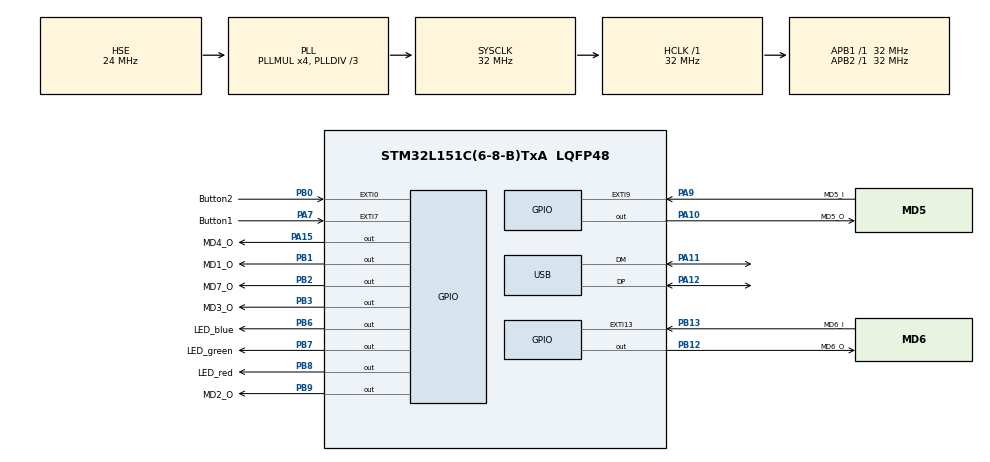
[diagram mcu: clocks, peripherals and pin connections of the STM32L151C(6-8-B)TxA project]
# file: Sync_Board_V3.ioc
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Mcu.Family=STM32L1
Mcu.Name=STM32L151C(6-8-B)TxA
Mcu.Package=LQFP48
NVIC.EXTI0_IRQn=true\:0\:0\:true\:false\:true\:true\:true\:true
NVIC.EXTI15_10_IRQn=true\:0\:0\:false\:false\:true\:true\:true\:true
NVIC.EXTI9_5_IRQn=true\:0\:0\:true\:false\:true\:true\:true\:true
NVIC.PriorityGroup=NVIC_PRIORITYGROUP_4
NVIC.TIM10_IRQn=true\:0\:0\:false\:false\:true\:true\:true\:true
NVIC.TIM11_IRQn=true\:0\:0\:false\:false\:true\:true\:true\:true
NVIC.TIM2_IRQn=true\:0\:0\:false\:false\:true\:true\:true\:true
NVIC.TIM3_IRQn=true\:0\:0\:false\:false\:true\:true\:true\:true
NVIC.TIM4_IRQn=true\:0\:0\:false\:false\:true\:true\:true\:true
NVIC.TIM6_IRQn=true\:0\:0\:false\:false\:true\:true\:true\:true
NVIC.TIM7_IRQn=true\:0\:0\:false\:false\:true\:true\:true\:true
NVIC.TIM9_IRQn=true\:0\:0\:false\:false\:true\:true\:true\:true
NVIC.USB_LP_IRQn=true\:0\:0\:false\:false\:true\:false\:true\:true
PA10.GPIO_Label=MD5_O
PA10.PinState=GPIO_PIN_SET
PA10.Signal=GPIO_Output
PA11.Mode=Device
PA11.Signal=USB_DM
PA12.Mode=Device
PA12.Signal=USB_DP
PA13.Mode=Serial_Wire
PA13.Signal=SYS_JTMS-SWDIO
PA14.Mode=Serial_Wire
PA14.Signal=SYS_JTCK-SWCLK
PA15.GPIO_Label=MD4_O
PA15.PinState=GPIO_PIN_SET
PA15.Signal=GPIO_Output
PA7.GPIO_Label=Button1
PA7.GPIO_ModeDefaultEXTI=GPIO_MODE_IT_FALLING
PA7.GPIO_PuPd=GPIO_PULLUP
PA7.Signal=GPXTI7
PA9.GPIO_Label=MD5_I
PA9.GPIO_ModeDefaultEXTI=GPIO_MODE_IT_RISING_FALLING
PA9.GPIO_PuPd=GPIO_NOPULL
PA9.Signal=GPXTI9
PB0.GPIO_Label=Button2
PB0.GPIO_ModeDefaultEXTI=GPIO_MODE_IT_FALLING
PB0.GPIO_PuPd=GPIO_PULLUP
PB0.Signal=GPXTI0
PB1.GPIO_Label=MD1_O
PB1.PinState=GPIO_PIN_SET
PB1.Signal=GPIO_Output
PB12.GPIO_Label=MD6_O
PB12.PinState=GPIO_PIN_SET
PB12.Signal=GPIO_Output
PB13.GPIO_Label=MD6_I
PB13.GPIO_ModeDefaultEXTI=GPIO_MODE_IT_RISING_FALLING
PB13.Signal=GPXTI13
PB2.GPIO_Label=MD7_O
PB2.PinState=GPIO_PIN_SET
PB2.Signal=GPIO_Output
PB3.GPIO_Label=MD3_O
PB3.PinState=GPIO_PIN_SET
PB3.Signal=GPIO_Output
PB6.GPIO_Label=LED_blue 
PB6.PinState=GPIO_PIN_SET
PB6.Signal=GPIO_Output
PB7.GPIO_Label=LED_green
PB7.PinState=GPIO_PIN_SET
PB7.Signal=GPIO_Output
PB8.GPIO_Label=LED_red
PB8.PinState=GPIO_PIN_SET
PB8.Signal=GPIO_Output
PB9.GPIO_Label=MD2_O
PB9.PinState=GPIO_PIN_SET
PB9.Signal=GPIO_Output
PH0-OSC_IN.Mode=HSE-External-Oscillator
PH0-OSC_IN.Signal=RCC_OSC_IN
PH1-OSC_OUT.Mode=HSE-External-Oscillator
PH1-OSC_OUT.Signal=RCC_OSC_OUT
ProjectManager.HeapSize=0x200
ProjectManager.StackSize=0x400
ProjectManager.TargetToolchain=STM32CubeIDE
RCC.48MHZClocksFreq_Value=48000000
RCC.AHBFreq_Value=32000000
RCC.APB1Freq_Value=32000000
RCC.APB1TimFreq_Value=32000000
RCC.APB2Freq_Value=32000000
RCC.APB2TimFreq_Value=32000000
RCC.HCLKFreq_Value=32000000
RCC.HSE_VALUE=24000000
RCC.HSI_VALUE=16000000
RCC.LSE_VALUE=32768
RCC.MSI_VALUE=2097000
RCC.PLLDIV=RCC_PLL_DIV3
RCC.PLLMUL=RCC_PLL_MUL4
RCC.SYSCLKFreq_VALUE=32000000
RCC.SYSCLKSource=RCC_SYSCLKSOURCE_PLLCLK
RCC.VCOOutputFreq_Value=96000000
TIM10.Prescaler=32-1
TIM11.Prescaler=32-1
TIM2.Prescaler=32-1
TIM3.Prescaler=32-1
TIM4.Prescaler=32-1
TIM6.Period=1000-1
TIM6.Prescaler=32-1
TIM7.Prescaler=32-1
TIM9.Prescaler=32-1
USB_DEVICE.CLASS_NAME_FS=CDC
USB_DEVICE.VirtualMode=Cdc
USB_DEVICE.VirtualModeFS=Cdc_FS
VP_TIM10_VS_ClockSourceINT.Mode=Internal
VP_TIM11_VS_ClockSourceINT.Mode=Internal
VP_TIM2_VS_ClockSourceINT.Mode=Internal
VP_TIM3_VS_ClockSourceINT.Mode=Internal
VP_TIM4_VS_ClockSourceINT.Mode=Internal
VP_TIM6_VS_ClockSourceINT.Mode=Enable_Timer
VP_TIM7_VS_ClockSourceINT.Mode=Enable_Timer
VP_TIM9_VS_ClockSourceINT.Mode=Internal
VP_USB_DEVICE_VS_USB_DEVICE_CDC_FS.Mode=CDC_FS
board=custom

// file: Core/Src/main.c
/* USER CODE BEGIN Header */
/**
  ******************************************************************************
  * @file           : main.c
  * @brief          : Main program body
  ******************************************************************************
  * @attention
  *
  * <h2><center>&copy; Copyright (c) 2022 STMicroelectronics.
  * All rights reserved.</center></h2>
  *
  * This software component is licensed by ST under BSD 3-Clause license,
  * the "License"; You may not use this file except in compliance with the
  * License. You may obtain a copy of the License at:
  *                        opensource.org/licenses/BSD-3-Clause
  *
  ******************************************************************************
  */
/* USER CODE END Header */
#include "main.h"
#include "tim.h"
#include "usb_device.h"
#include "gpio.h"

/* USER CODE BEGIN Includes */
#include "usbd_cdc_if.h"
#include <string.h>
#include "m-sequence.h"
#include <math.h>
/* USER CODE END Includes */

/* USER CODE BEGIN PTD */
typedef struct {
	GPIO_TypeDef *port_out;
	uint16_t pin_out;
	uint8_t active;
	uint16_t delay;
	uint16_t pulsLength;
	uint8_t signalform;
	uint16_t frequency;
	uint32_t timeRef;
	uint8_t stopTrigger;
	uint8_t logicLevel;
	TIM_HandleTypeDef *clockTimer;
	TIM_TypeDef *timBase;
	uint8_t degree;
	uint16_t pnDelay;
	uint8_t *mSeq;
	uint16_t mSeqCounter;
} device;

typedef struct{
	uint8_t source;
	uint16_t delay;
	uint8_t signalform;
}startSource;

typedef struct{
	uint8_t source;
	uint16_t delay;
	uint8_t signalform;
}stopSource;

typedef struct{
	uint8_t source;
	uint8_t active;
	uint8_t signalform;
}eventSource;

/* USER CODE END PTD */

/* USER CODE BEGIN PD */
//Measuring Devices
#define MD1 0
#define MD2 1
#define MD3 2
#define MD4 3
#define MD5 4
#define MD6 5
#define MD7 6

// Start / Stop / Clock sources
#define USB 0x00
#define Button1 0x01
#define Button2 0x02

//Signals
#define FallingTrigger 0
#define RisingTrigger 1
#define FallingEdge 2
#define RisingEdge 3
#define AnyEdge 4
#define FallingClock 5
#define RisingClock 6
#define M_Sequence 7

//Errors
#define SourceNotUsed 2
#define NoSuchStopSource 3
#define NoSuchStartSource 4
#define InvalidDataReceived 5
#define NoSuchMessage 6
#define NoSuchDevice 7
#define NoSuchInput 8
#define AllocationFailed 9
#define NoSuchColor 10
#define NoSuchSignalform 11

//Message
#define ErrorByte 0x00
#define EventByte 0x01
#define RunByte 0x02
#define SendWhoAmI 0xaa
#define MeasurementRun 0xbb
#define MeasurementStop 0xcc

//colors
#define ColorOff 0
#define ColorRed 1
#define ColorGreen 2
#define ColorBlue 3

//Setting commands
#define HelloByte 0xaa
/* USER CODE END PD */

/* USER CODE BEGIN PV */
uint8_t saveReceivedData[50];
uint8_t dataReceived = 0;
device allDevices[9];
startSource start;
stopSource stop;
eventSource event;

static uint8_t measRun = 0;
uint8_t button1_event = 0;
uint32_t button1_event_time = 0;
uint8_t button2_event = 0;
uint32_t button2_event_time = 0;
uint8_t md6_event = 0;
uint32_t md6_event_time = 0;
uint8_t md5_event = 0;
uint32_t md5_event_time = 0;
uint32_t startTime = 0;
uint32_t measTime = 0;
uint32_t stopTime = 0;
uint8_t deviceCount = 0;
uint8_t maxSeqLength = 0;
/* USER CODE END PV */

void SystemClock_Config(void);

/* USER CODE BEGIN 0 */

//
void Dev_init(){
//Function sets each Measuring Device to Init

	allDevices[MD1].port_out = MD1_O_GPIO_Port;
	allDevices[MD1].pin_out = MD1_O_Pin;
	allDevices[MD1].clockTimer = &htim2;
	allDevices[MD1].timBase = TIM2;
	allDevices[MD1].stopTrigger = 0;
	allDevices[MD1].mSeq = (uint8_t *) malloc(3);

	allDevices[MD2].port_out = MD2_O_GPIO_Port;
	allDevices[MD2].pin_out = MD2_O_Pin;
	allDevices[MD2].clockTimer = &htim3;
	allDevices[MD2].timBase = TIM3;
	allDevices[MD2].stopTrigger = 0;
	allDevices[MD2].mSeq = (uint8_t *) malloc(3);

	allDevices[MD3].port_out = MD3_O_GPIO_Port;
	allDevices[MD3].pin_out = MD3_O_Pin;
	allDevices[MD3].clockTimer = &htim4;
	allDevices[MD3].timBase = TIM4;
	allDevices[MD3].stopTrigger = 0;
	allDevices[MD3].mSeq = (uint8_t *) malloc(3);

	allDevices[MD4].port_out = MD4_O_GPIO_Port;
	allDevices[MD4].pin_out = MD4_O_Pin;
	allDevices[MD4].clockTimer = &htim7;
	allDevices[MD4].timBase = TIM7;
	allDevices[MD4].stopTrigger = 0;
	allDevices[MD4].mSeq = (uint8_t *) malloc(3);

	allDevices[MD5].port_out = MD5_O_GPIO_Port;
	allDevices[MD5].pin_out = MD5_O_Pin;
	allDevices[MD5].clockTimer = &htim9;
	allDevices[MD5].timBase = TIM9;
	allDevices[MD5].stopTrigger = 0;
	allDevices[MD5].mSeq = (uint8_t *) malloc(3);

	allDevices[MD6].port_out = MD6_O_GPIO_Port;
	allDevices[MD6].pin_out = MD6_O_Pin;
	allDevices[MD6].clockTimer = &htim10;
	allDevices[MD6].timBase = TIM10;
	allDevices[MD6].stopTrigger = 0;
	allDevices[MD6].mSeq = (uint8_t *) malloc(3);

	allDevices[MD7].port_out = MD7_O_GPIO_Port;
	allDevices[MD7].pin_out = MD7_O_Pin;
	allDevices[MD7].clockTimer = &htim11;
	allDevices[MD7].timBase = TIM11;
	allDevices[MD7].stopTrigger = 0;
	allDevices[MD7].mSeq = (uint8_t *) malloc(3);

	//saves number of devices in allDevices
	deviceCount = sizeof(allDevices) / sizeof(allDevices[0]);

	for (uint8_t i = MD1; i < deviceCount; i++){
		allDevices[i].active = 0;
		allDevices[i].delay = 0;
		allDevices[i].signalform = FallingTrigger;
		allDevices[i].frequency = 0;
		allDevices[i].timeRef = 1;
		allDevices[i].mSeqCounter = 0;
		allDevices[i].pulsLength = 4;
	}
}
/* USER CODE END 0 */

int main(void)
{

  /* MCU Configuration--------------------------------------------------------*/

  /* Reset of all peripherals, Initializes the Flash interface and the Systick. */
  HAL_Init();

  /* USER CODE BEGIN Init */
  Dev_init();
  /* USER CODE END Init */

  /* Configure the system clock */
  SystemClock_Config();

  /* Initialize all configured peripherals */
  MX_GPIO_Init();
  MX_TIM2_Init();
  MX_TIM3_Init();
  MX_TIM4_Init();
  MX_TIM6_Init();
  MX_TIM7_Init();
  MX_TIM9_Init();
  MX_TIM10_Init();
  MX_TIM11_Init();
  MX_USB_DEVICE_Init();

  /* Infinite loop */
  /* USER CODE BEGIN WHILE */
  while (1)
  {

	  //Button1 pressed
	  if(button1_event){
		  button1_event = 0;
		  if(start.source == Button1 || stop.source == Button1){
			  if(measRun == 0){
				  StartMeasurement(Button1);
			  }else{
				  StopMeasurement(Button1);
			  }
		  }else if (event.active && event.source == Button1) {
			  SendMessage(EventByte, Button1, 3);
		  }else{
			  uint8_t errorMessage = SourceNotUsed;
			  PrintError(errorMessage);
		  }
	  }
	  //Button2 pressed
	  if(button2_event){
		  button2_event = 0;
		  if(start.source == Button2 || stop.source == Button2){
			  if(measRun == 0){
				  StartMeasurement(Button2);
			  }else{
				  StopMeasurement(Button2);
			  }
		  }else if (event.active && event.source == Button2) {
			  SendMessage(EventByte, Button2, 3);
		  }else{
			  uint8_t errorMessage = SourceNotUsed;
			  PrintError(errorMessage);
		  }
	  }
	  //Interrupt signal MD6
	  if(md6_event){
		  if(start.source == MD6){
			  if(measRun == 0){
				  StartMeasurement(MD6);
			  }else{
				  StopMeasurement(MD6);
			  }
		  }else if (event.active && event.source == MD6) {
			  SendMessage(EventByte, MD6, 3);
		  }else{
			  uint8_t errorMessage = SourceNotUsed;
			  PrintError(errorMessage);
		  }
		  md6_event = 0;
	  }
	  //Interrupt Signal MD5
	  if(md5_event){
		  if(start.source == MD5){
			  if(measRun == 0){
				  StartMeasurement(MD5);
			  }else{
				  StopMeasurement(MD5);
			  }
		  }else if (event.active && event.source == MD5) {
			  SendMessage(EventByte, MD5, 3);
		  }else{
			  uint8_t errorMessage = SourceNotUsed;
			  PrintError(errorMessage);
		  }
		  md5_event = 0;
	  }

	  //Data received
	  if(dataReceived == 1){
		  dataReceived = 0;
		  ReadData(saveReceivedData);
	  }
    /* USER CODE END WHILE */

    /* USER CODE BEGIN 3 */
  }
  FreeAllMalloc();
  /* USER CODE END 3 */
}

void SystemClock_Config(void)
{
  RCC_OscInitTypeDef RCC_OscInitStruct = {0};
  RCC_ClkInitTypeDef RCC_ClkInitStruct = {0};

  /** Configure the main internal regulator output voltage
  */
  __HAL_PWR_VOLTAGESCALING_CONFIG(PWR_REGULATOR_VOLTAGE_SCALE1);

  /** Initializes the RCC Oscillators according to the specified parameters
  * in the RCC_OscInitTypeDef structure.
  */
  RCC_OscInitStruct.OscillatorType = RCC_OSCILLATORTYPE_HSE;
  RCC_OscInitStruct.HSEState = RCC_HSE_ON;
  RCC_OscInitStruct.PLL.PLLState = RCC_PLL_ON;
  RCC_OscInitStruct.PLL.PLLSource = RCC_PLLSOURCE_HSE;
  RCC_OscInitStruct.PLL.PLLMUL = RCC_PLL_MUL4;
  RCC_OscInitStruct.PLL.PLLDIV = RCC_PLL_DIV3;
  if (HAL_RCC_OscConfig(&RCC_OscInitStruct) != HAL_OK)
  {
    Error_Handler();
  }

  /** Initializes the CPU, AHB and APB buses clocks
  */
  RCC_ClkInitStruct.ClockType = RCC_CLOCKTYPE_HCLK|RCC_CLOCKTYPE_SYSCLK
                              |RCC_CLOCKTYPE_PCLK1|RCC_CLOCKTYPE_PCLK2;
  RCC_ClkInitStruct.SYSCLKSource = RCC_SYSCLKSOURCE_PLLCLK;
  RCC_ClkInitStruct.AHBCLKDivider = RCC_SYSCLK_DIV1;
  RCC_ClkInitStruct.APB1CLKDivider = RCC_HCLK_DIV1;
  RCC_ClkInitStruct.APB2CLKDivider = RCC_HCLK_DIV1;

  if (HAL_RCC_ClockConfig(&RCC_ClkInitStruct, FLASH_LATENCY_1) != HAL_OK)
  {
    Error_Handler();
  }
}

/* USER CODE BEGIN 4 */
void LightLED(uint8_t color){

	HAL_GPIO_WritePin(LED_green_GPIO_Port, LED_green_Pin, GPIO_PIN_SET);
	HAL_GPIO_WritePin(LED_blue_GPIO_Port, LED_blue_Pin, GPIO_PIN_SET);
	HAL_GPIO_WritePin(LED_red_GPIO_Port, LED_red_Pin, GPIO_PIN_SET);
	uint8_t errorMessage = NoSuchColor;
	switch (color){
	case ColorRed:
		HAL_GPIO_WritePin(LED_red_GPIO_Port, LED_red_Pin, GPIO_PIN_RESET);
		break;
	case ColorGreen:
		HAL_GPIO_WritePin(LED_green_GPIO_Port, LED_green_Pin, GPIO_PIN_RESET);
		break;
	case ColorBlue:
		HAL_GPIO_WritePin(LED_blue_GPIO_Port, LED_blue_Pin, GPIO_PIN_RESET);
		break;
	case ColorOff:
		break;
	default:
		PrintError(errorMessage);
	}
}

void PrintError(uint8_t errorMessage){
	LightLED(ColorRed);
	uint8_t printError[] = {HelloByte, ErrorByte, errorMessage};
	CDC_Transmit_FS(printError, 3);
	while(!(dataReceived == 1 && saveReceivedData[0] == 0xaa && saveReceivedData[1] == 0x0a)){//Wait for user respond
	}
	LightLED(ColorOff);
	dataReceived = 0;
}

void SendMessage(uint8_t feature, uint8_t message, uint8_t length){
	uint8_t sendMessage[length];
	sendMessage[0] = HelloByte;
	if(length == 2){
		sendMessage[1] = message;
	}else if(length == 3){
		sendMessage[1] = feature;
		sendMessage[2] = message;
	}
	CDC_Transmit_FS(sendMessage, length);
}

void FreeAllMalloc(){
	for(uint8_t i = MD1; i < deviceCount; i++){
		free(allDevices[i].mSeq);
	}
}

int CheckDelay(uint32_t measTime, uint16_t msDelay){
/* function returns 1 after adjusted delay time
* measTime: time since measurement started
* msDelay: delay time in ms*/
	if(measTime < msDelay){
		return 0;
	}else{
		return 1;
	}
}

void MD_InitSignalform(uint8_t i){
/* function puts dev to init level depending on its signalform
* dev: measuring device*/

	if(allDevices[i].signalform == FallingClock || allDevices[i].signalform == FallingTrigger || allDevices[i].signalform == FallingEdge){
		HAL_GPIO_WritePin(allDevices[i].port_out, allDevices[i].pin_out, GPIO_PIN_SET);
	}else if(allDevices[i].signalform == RisingClock || allDevices[i].signalform == RisingTrigger || allDevices[i].signalform == M_Sequence || allDevices[i].signalform == RisingEdge){
		HAL_GPIO_WritePin(allDevices[i].port_out, allDevices[i].pin_out, GPIO_PIN_RESET);
	}
	allDevices[i].mSeqCounter = 0;
}

void MD_Trigger(device dev, uint32_t runningTime){
/* function toggles level for pulsLength(ms) of dev to create a Triggersignal
* dev: measuring device
* runningTime: time since measurement runs*/

	if(runningTime > 0 && runningTime <= dev.pulsLength){
		HAL_GPIO_WritePin(dev.port_out, dev.pin_out, dev.signalform);
	}else{
		HAL_GPIO_WritePin(dev.port_out, dev.pin_out, !dev.signalform);
	}
}

void InitSignalformAll(){
//function puts all measuring devices to init level depending on their signalform

	for(uint8_t i = 0; i < deviceCount; i++){
		MD_InitSignalform(i);
	}
}

//reads the received message and executes the corresponding function
int ReadData(uint8_t buf[]){
/* function reads the received message and calls the corresponding function
* buf: save received byte messages */

	if(buf[0] != HelloByte){
		uint8_t errorMessage = InvalidDataReceived;
		PrintError(errorMessage);
		return 0;
	}
	uint8_t errorMessage = NoSuchMessage;
	switch (buf[1]){
	case 0x00:
		SetStartSource(buf[2], buf[3]<<8 | buf[4], buf[5]);
		break;
	case 0x01:
		SetStopSource(buf[2], buf[3]<<8 | buf[4], buf[5]);
		break;
	case 0x02:
		SetEvent(buf[2], buf[3], buf[4]);
		break;
	case 0x03:
		SetOutput(buf[2], buf[3], buf[4]<<8 | buf[5], buf[6],  buf[7]<<8 | buf[8], buf[9]<<8 | buf[10], buf[11], buf[12]);
		break;
	case 0x04:
		StartMeasurement(USB);
		break;
	case 0x05:
		StopMeasurement(USB);
		break;
	case 0xff:
		WhoAmI();
		break;
	default:
		PrintError(errorMessage);
		return 0;
	}
	return 1;
}

//
void SetStartSource(uint8_t newStartSource, uint16_t delay, uint8_t signalform){
/* function sets the requirements how to start a measurement
* newStartSource: Source of the signal which triggers to start a measurement
* delay: delay to wait before measurement starts
* signalform: type of signal which triggers to start a measurement */
	if(newStartSource > MD6){
		uint8_t errorMessage = NoSuchStartSource;
		PrintError(errorMessage);
		return;
	}else{
		start.source = newStartSource;
		start.delay = delay;
		start.signalform = signalform;
	}
}

void SetStopSource(uint8_t newStopSource, uint16_t delay, uint8_t signalform){
/* function sets the requirements how to stop a measurement
* newStartSource: Source of the signal which triggers to stop a measurement
* delay: delay to wait before measurement stops
* signalform: type of signal which triggers to stop a measurement */
	if(newStopSource > MD6){
		uint8_t errorMessage = NoSuchStopSource;
		PrintError(errorMessage);
		return;
	}else{
		stop.source = newStopSource;
		stop.delay = delay;
		stop.signalform = signalform;
	}
}

void SetEvent(uint8_t eventSource, uint8_t active, uint8_t signalform){
/* function sets the requirements how an event is triggered
* eventSource: Source of the signal which triggers an event
* active: turns the ability to trigger an event with this eventSource on (1) or off (0)
* signalform: type of signal which triggers an event*/
	event.source = eventSource;
	event.active = active;
	event.signalform = signalform;
}

void SetOutput(uint8_t device, uint8_t active, uint16_t delay, uint8_t signalform, uint16_t pulsLength, uint16_t frequency, uint8_t stopTrigger, uint8_t degree /*uint16_t pnDelay*/){
/* function sets the chosen measuring device with the required features for an output sync signal
* device: measuring device
* active: device is active (1), is not active (0)
* delay: delay to wait after measurement started
* signalform: type of output sync signal
* stopTrigger == 1: generates a trigger signal when measurement stops
* degree: degree to generate an M-Sequence */

	if(device >= deviceCount){
		uint8_t errorMessage = NoSuchDevice;
		PrintError(errorMessage);
		return;
	}
	allDevices[device].active = active;
	allDevices[device].delay = delay;
	allDevices[device].signalform = signalform;
	allDevices[device].pulsLength = pulsLength;
	allDevices[device].frequency = frequency;
	allDevices[device].stopTrigger = stopTrigger;
	allDevices[device].degree = degree;

	if(active && allDevices[device].degree != 0){
		maxSeqLength = pow(2, allDevices[device].degree)-1;
		allDevices[device].mSeq = (uint8_t *)realloc(allDevices[device].mSeq, maxSeqLength);
	}

	if(active && frequency != 0){
		if(allDevices[device].signalform == M_Sequence){
			mls(allDevices[device].degree, allDevices[device].mSeq);
			allDevices[device].timeRef = 1e6 / frequency;//timeRef in µs
		}else{
			if(frequency >= 8){
				allDevices[device].timBase -> PSC = 32-1;
				allDevices[device].timeRef = 1e6 / (frequency * 2);//toggle every half period
			}else{
				allDevices[device].timBase -> PSC = 265-1;
				allDevices[device].timeRef = (1e6 / (frequency * 2 * 8)) - 300;
			}

		}
		allDevices[device].timBase -> ARR = allDevices[device].timeRef;
	}
	MD_InitSignalform(device);
}

void StartMeasurement(uint8_t usedSource){
/* function starts a measurement
* usedSource: signal which triggered the start of the measurement*/
	if(start.source == usedSource && measRun == 0){
		HAL_Delay(start.delay);
		LightLED(ColorGreen);
		measRun = 1;
		SendMessage(RunByte, MeasurementRun, 3);
		stopTime = 0;
		startTime = HAL_GetTick();
		HAL_TIM_Base_Start_IT(&htim6);
		for(uint8_t i = MD1; i < deviceCount; i++){
			if(allDevices[i].active){
				if(allDevices[i].signalform == RisingEdge || allDevices[i].signalform == FallingEdge){
					HAL_GPIO_WritePin(allDevices[i].port_out, allDevices[i].pin_out, !HAL_GPIO_ReadPin(allDevices[i].port_out, allDevices[i].pin_out));
				}else if(allDevices[i].frequency != 0){
					HAL_TIM_Base_Start_IT(allDevices[i].clockTimer);
				}
			}
		}
	}
}

void StopMeasurement(uint8_t usedSource){
/* function stops a measurement
* usedSource: signal which triggered the stop of the measurement*/
	if(stop.source == usedSource && measRun == 1){
		HAL_Delay(stop.delay);
		LightLED(ColorOff);
		measRun = 0;
		SendMessage(RunByte, MeasurementStop, 3);
		stopTime = HAL_GetTick();
		startTime = 0;
		for(uint8_t i = MD1; i < deviceCount; i++){
			if(allDevices[i].signalform == RisingEdge || allDevices[i].signalform == FallingEdge){
				HAL_GPIO_WritePin(allDevices[i].port_out, allDevices[i].pin_out, !HAL_GPIO_ReadPin(allDevices[i].port_out, allDevices[i].pin_out));
			}else if(allDevices[i].frequency != 0){
				HAL_TIM_Base_Stop_IT(allDevices[i].clockTimer);
			}
		}
		InitSignalformAll();
	}
}

void WhoAmI(){
	SendMessage(0, SendWhoAmI, 2);
}

void UpdateStartTrigger(){
/* function toggles level of all active devices for 4ms when measurement starts*/
	measTime = HAL_GetTick() - startTime;

	for(uint8_t i = MD1; i < deviceCount; i++){
		if(allDevices[i].active && CheckDelay(measTime, allDevices[i].delay)){
			uint32_t runningTime = measTime - allDevices[i].delay;
			switch (allDevices[i].signalform){
			case FallingTrigger:
			case RisingTrigger:
				MD_Trigger(allDevices[i], runningTime);
				break;
			}
		}
	}
}

void UpdateStopTrigger(){
/* function toggles level of all active devices for 4ms when measurement stops*/
	measTime = HAL_GetTick() - stopTime;
	for(uint8_t i = MD1; i < deviceCount; i++){
		if(allDevices[i].active && allDevices[i].stopTrigger == 1){
			MD_Trigger(allDevices[i], measTime);
		}
	}
}

void HAL_GPIO_EXTI_Callback(uint16_t GPIO_Pin){
	//Interrupt Button 1
	if(GPIO_Pin == Button1_Pin){
		button1_event = 1;
	}
	//Interrupt Button 2
	if(GPIO_Pin == Button2_Pin){
		button2_event = 1;
	}
	//Interrupt MD5
	if(GPIO_Pin == MD5_I_Pin){
		if(HAL_GetTick() > (md5_event_time + 10)){
			md5_event_time = HAL_GetTick();
			if (HAL_GPIO_ReadPin(MD5_I_GPIO_Port, MD5_I_Pin) == GPIO_PIN_RESET && start.signalform == FallingEdge && measRun == 0){
				md5_event = 1;
			} else if (HAL_GPIO_ReadPin(MD5_I_GPIO_Port, MD5_I_Pin) == GPIO_PIN_SET && start.signalform == RisingEdge  && measRun == 0) {
				md5_event = 1;
			} else if (start.signalform == AnyEdge && measRun == 1) {
				md5_event = 1;
			} else if (HAL_GPIO_ReadPin(MD5_I_GPIO_Port, MD5_I_Pin) == GPIO_PIN_RESET && stop.signalform == FallingEdge  && measRun == 1){
				md5_event = 1;
			} else if (HAL_GPIO_ReadPin(MD5_I_GPIO_Port, MD5_I_Pin) == GPIO_PIN_SET && stop.signalform == RisingEdge  && measRun == 1) {
				md5_event = 1;
			} else if (stop.signalform == AnyEdge && measRun == 1) {
				md5_event = 1;
			} else if (HAL_GPIO_ReadPin(MD5_I_GPIO_Port, MD5_I_Pin) == GPIO_PIN_SET && event.signalform == RisingEdge && event.source == MD5) {
				md5_event = 1;
			} else if (HAL_GPIO_ReadPin(MD5_I_GPIO_Port, MD5_I_Pin) == GPIO_PIN_RESET && event.signalform == FallingEdge && event.source == MD5) {
				md5_event = 1;
			} else if (event.signalform == AnyEdge && event.source == MD5) {
				md5_event = 1;
			}
		}
	}
	//Interrupt MD6
	if(GPIO_Pin == MD6_I_Pin){
		if(HAL_GetTick() > (md6_event_time + 10)){
			md6_event_time = HAL_GetTick();
			if (HAL_GPIO_ReadPin(MD6_I_GPIO_Port, MD6_I_Pin) == GPIO_PIN_RESET && start.signalform == FallingEdge && measRun == 0){
				md6_event = 1;
			} else if (HAL_GPIO_ReadPin(MD6_I_GPIO_Port, MD6_I_Pin) == GPIO_PIN_SET && start.signalform == RisingEdge && measRun == 0) {
				md6_event = 1;
			} else if (start.signalform == AnyEdge && measRun == 0) {
				md6_event = 1;
			} else if (HAL_GPIO_ReadPin(MD6_I_GPIO_Port, MD6_I_Pin) == GPIO_PIN_RESET && stop.signalform == FallingEdge && measRun == 1){
				md6_event = 1;
			} else if (HAL_GPIO_ReadPin(MD6_I_GPIO_Port, MD6_I_Pin) == GPIO_PIN_SET && stop.signalform == RisingEdge && measRun == 1) {
				md6_event = 1;
			} else if (stop.signalform == AnyEdge && measRun == 1) {
				md6_event = 1;
			} else if (HAL_GPIO_ReadPin(MD6_I_GPIO_Port, MD6_I_Pin) == GPIO_PIN_SET && event.signalform == RisingEdge && event.source == MD6) {
				md6_event = 1;
			} else if (HAL_GPIO_ReadPin(MD6_I_GPIO_Port, MD6_I_Pin) == GPIO_PIN_RESET && event.signalform == FallingEdge && event.source == MD6) {
				md6_event = 1;
			} else if (event.signalform == AnyEdge && event.source == MD6) {
				md6_event = 1;
			}
		}
	}
}

void HAL_TIM_PeriodElapsedCallback(TIM_HandleTypeDef *htim){
/* function uses timer events as a reference to generate the output-sync-signals during the measurement
* *htim: timer that triggered an interrupt */
	if(htim == &htim6){
		if(measRun){
			UpdateStartTrigger();
		}else{
			UpdateStopTrigger();
		}
	}

	if(htim == &htim2 && CheckDelay(measTime, allDevices[MD1].delay)){
		if(allDevices[MD1].signalform != M_Sequence){
			HAL_GPIO_TogglePin(allDevices[MD1].port_out, allDevices[MD1].pin_out);
		}else{
			HAL_GPIO_WritePin(allDevices[MD1].port_out, allDevices[MD1].pin_out, allDevices[MD1].mSeq[allDevices[MD1].mSeqCounter]);
			allDevices[MD1].mSeqCounter++;
			if(allDevices[MD1].mSeqCounter > maxSeqLength-1){
				HAL_GPIO_WritePin(allDevices[MD1].port_out, allDevices[MD1].pin_out, GPIO_PIN_SET);
				allDevices[MD1].mSeqCounter = 0;
			}
		}
	}
	if(htim == &htim3 && CheckDelay(measTime, allDevices[MD2].delay)){
		if(allDevices[MD2].signalform != M_Sequence){
			HAL_GPIO_TogglePin(allDevices[MD2].port_out, allDevices[MD2].pin_out);
		}else{
			HAL_GPIO_WritePin(allDevices[MD2].port_out, allDevices[MD2].pin_out, allDevices[MD2].mSeq[allDevices[MD2].mSeqCounter]);
			allDevices[MD2].mSeqCounter++;
			if(allDevices[MD2].mSeqCounter > maxSeqLength-1){
				HAL_GPIO_WritePin(allDevices[MD2].port_out, allDevices[MD2].pin_out, GPIO_PIN_SET);
				allDevices[MD2].mSeqCounter = 0;
			}
		}
	}
	if(htim == &htim4 && CheckDelay(measTime, allDevices[MD3].delay)){
		if(allDevices[MD3].signalform != M_Sequence){
			HAL_GPIO_TogglePin(allDevices[MD3].port_out, allDevices[MD3].pin_out);
		}else{
			HAL_GPIO_WritePin(allDevices[MD3].port_out, allDevices[MD3].pin_out, allDevices[MD3].mSeq[allDevices[MD3].mSeqCounter]);
			allDevices[MD3].mSeqCounter++;
			if(allDevices[MD3].mSeqCounter > maxSeqLength-1){
				HAL_GPIO_WritePin(allDevices[MD3].port_out, allDevices[MD3].pin_out, GPIO_PIN_SET);
				allDevices[MD3].mSeqCounter = 0;
			}
		}
	}
	if(htim == &htim7 && CheckDelay(measTime, allDevices[MD4].delay)){
		if(allDevices[MD4].signalform != M_Sequence){
			HAL_GPIO_TogglePin(allDevices[MD4].port_out, allDevices[MD4].pin_out);
		}else{
			HAL_GPIO_WritePin(allDevices[MD4].port_out, allDevices[MD4].pin_out, allDevices[MD4].mSeq[allDevices[MD4].mSeqCounter]);
			allDevices[MD4].mSeqCounter++;
			if(allDevices[MD4].mSeqCounter > maxSeqLength-1){
				HAL_GPIO_WritePin(allDevices[MD4].port_out, allDevices[MD4].pin_out, GPIO_PIN_SET);
				allDevices[MD4].mSeqCounter = 0;
			}
		}
	}
	if(htim == &htim9 && CheckDelay(measTime, allDevices[MD5].delay)){
		if(allDevices[MD5].signalform != M_Sequence){
			HAL_GPIO_TogglePin(allDevices[MD5].port_out, allDevices[MD5].pin_out);
		}else{
			HAL_GPIO_WritePin(allDevices[MD5].port_out, allDevices[MD5].pin_out, allDevices[MD5].mSeq[allDevices[MD5].mSeqCounter]);
			allDevices[MD5].mSeqCounter++;
			if(allDevices[MD5].mSeqCounter > maxSeqLength-1){
				HAL_GPIO_WritePin(allDevices[MD5].port_out, allDevices[MD5].pin_out, GPIO_PIN_SET);
				allDevices[MD5].mSeqCounter = 0;
			}
		}
	}
	if(htim == &htim10 && CheckDelay(measTime, allDevices[MD6].delay)){
		if(allDevices[MD6].signalform != M_Sequence){
			HAL_GPIO_TogglePin(allDevices[MD6].port_out, allDevices[MD6].pin_out);
		}else{
			HAL_GPIO_WritePin(allDevices[MD6].port_out, allDevices[MD6].pin_out, allDevices[MD6].mSeq[allDevices[MD6].mSeqCounter]);
			allDevices[MD6].mSeqCounter++;
			if(allDevices[MD6].mSeqCounter > maxSeqLength-1){
				HAL_GPIO_WritePin(allDevices[MD6].port_out, allDevices[MD6].pin_out, GPIO_PIN_SET);
				allDevices[MD6].mSeqCounter = 0;
			}
		}
	}
	if(htim == &htim11 && CheckDelay(measTime, allDevices[MD7].delay)){
		if(allDevices[MD7].signalform != M_Sequence){
			HAL_GPIO_TogglePin(allDevices[MD7].port_out, allDevices[MD7].pin_out);
		}else{
			HAL_GPIO_WritePin(allDevices[MD7].port_out, allDevices[MD7].pin_out, allDevices[MD7].mSeq[allDevices[MD7].mSeqCounter]);
			allDevices[MD7].mSeqCounter++;
			if(allDevices[MD7].mSeqCounter > maxSeqLength-1){
				HAL_GPIO_WritePin(allDevices[MD7].port_out, allDevices[MD7].pin_out, GPIO_PIN_SET);
				allDevices[MD7].mSeqCounter = 0;
			}
		}
	}
}
/* USER CODE END 4 */

void Error_Handler(void)
{
  __disable_irq();
  while (1)
  {
  }
}
